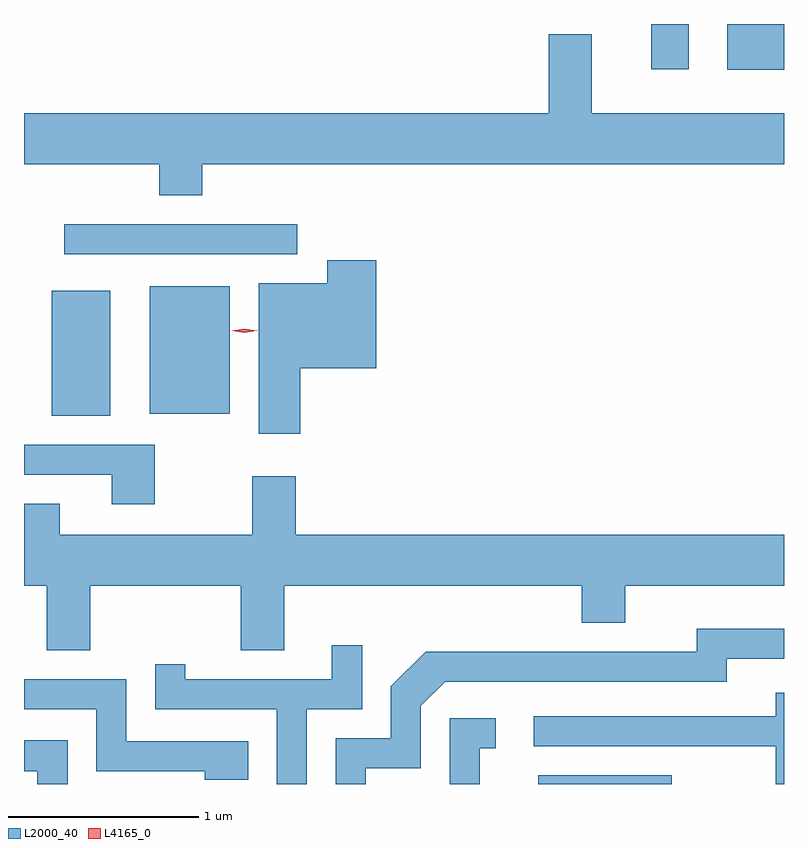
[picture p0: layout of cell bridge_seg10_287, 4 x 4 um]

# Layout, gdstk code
import gdstk
lib = gdstk.Library(unit=1e-6, precision=1e-09)
def R(c, l, rs):  # rectangles x0, y0, x1, y1
    for r in rs: c.add(gdstk.rectangle(r[:2], r[2:], *l))
def P(c, l, *ps):  # polygons
    for p in ps: c.add(gdstk.Polygon(p, *l))
L2000_40 = (2000, 40)
L4165_0 = (4165, 0)

bridge_seg10_287 = lib.new_cell('bridge_seg10_287')
R(bridge_seg10_287, L2000_40, [(1451.066,2161.713,1451.768,2161.759), (1448.506,2163.651,1448.814,2164.309), (1449.021,2163.661,1449.444,2164.334), (1448.573,2164.501,1449.798,2164.659), (1452.061,2165.471,1452.36,2165.713), (1451.661,2165.476,1451.859,2165.713)])
P(bridge_seg10_287, L2000_40, [(1449.299,2164.976),(1452.36,2164.976),(1452.36,2165.244),(1451.349,2165.244),(1451.349,2165.659),(1451.121,2165.659),(1451.121,2165.244),(1448.36,2165.244),(1448.36,2164.976),(1449.071,2164.976),(1449.071,2164.811),(1449.299,2164.811)],
  [(1449.814,2163.901),(1450.214,2163.901),(1450.214,2164.469),(1449.956,2164.469),(1449.956,2164.349),(1449.596,2164.349),(1449.596,2163.556),(1449.814,2163.556)],
  [(1449.049,2163.499),(1448.36,2163.499),(1448.36,2163.341),(1448.821,2163.341),(1448.821,2163.186),(1449.049,2163.186)],
  [(1449.789,2163.334),(1449.561,2163.334),(1449.561,2163.024),(1448.549,2163.024),(1448.549,2163.189),(1448.36,2163.189),(1448.36,2162.756),(1448.481,2162.756),(1448.481,2162.416),(1448.709,2162.416),(1448.709,2162.756),(1449.501,2162.756),(1449.501,2162.416),(1449.729,2162.416),(1449.729,2162.756),(1451.296,2162.756),(1451.296,2162.561),(1451.524,2162.561),(1451.524,2162.756),(1452.36,2162.756),(1452.36,2163.024),(1449.789,2163.024)],
  [(1450.159,2161.796),(1450.449,2161.796),(1450.449,2162.124),(1450.577,2162.251),(1452.059,2162.251),(1452.059,2162.371),(1452.36,2162.371),(1452.36,2162.529),(1451.901,2162.529),(1451.901,2162.409),(1450.474,2162.409),(1450.291,2162.227),(1450.291,2161.954),(1450.001,2161.954),(1450.001,2161.713),(1450.159,2161.713)],
  [(1449.849,2162.106),(1450.139,2162.106),(1450.139,2162.443),(1449.981,2162.443),(1449.981,2162.264),(1449.209,2162.264),(1449.209,2162.343),(1449.051,2162.343),(1449.051,2162.106),(1449.691,2162.106),(1449.691,2161.713),(1449.849,2161.713)],
  [(1449.539,2161.939),(1448.899,2161.939),(1448.899,2162.264),(1448.36,2162.264),(1448.36,2162.106),(1448.741,2162.106),(1448.741,2161.781),(1449.311,2161.781),(1449.311,2161.736),(1449.539,2161.736)],
  [(1452.36,2162.193),(1452.316,2162.193),(1452.316,2162.069),(1451.043,2162.069),(1451.043,2161.911),(1452.316,2161.911),(1452.316,2161.713),(1452.36,2161.713)],
  [(1450.759,2161.901),(1450.843,2161.901),(1450.843,2162.059),(1450.601,2162.059),(1450.601,2161.713),(1450.759,2161.713)],
  [(1448.589,2161.944),(1448.36,2161.944),(1448.36,2161.781),(1448.431,2161.781),(1448.431,2161.713),(1448.589,2161.713)])
P(bridge_seg10_287, L4165_0, [(1449.52,2164.089),(1449.454,2164.098),(1449.454,2164.099),(1449.454,2164.099),(1449.52,2164.109),(1449.586,2164.099),(1449.587,2164.099),(1449.586,2164.098)])

lib.write_gds('bridge_seg10_287.gds')
